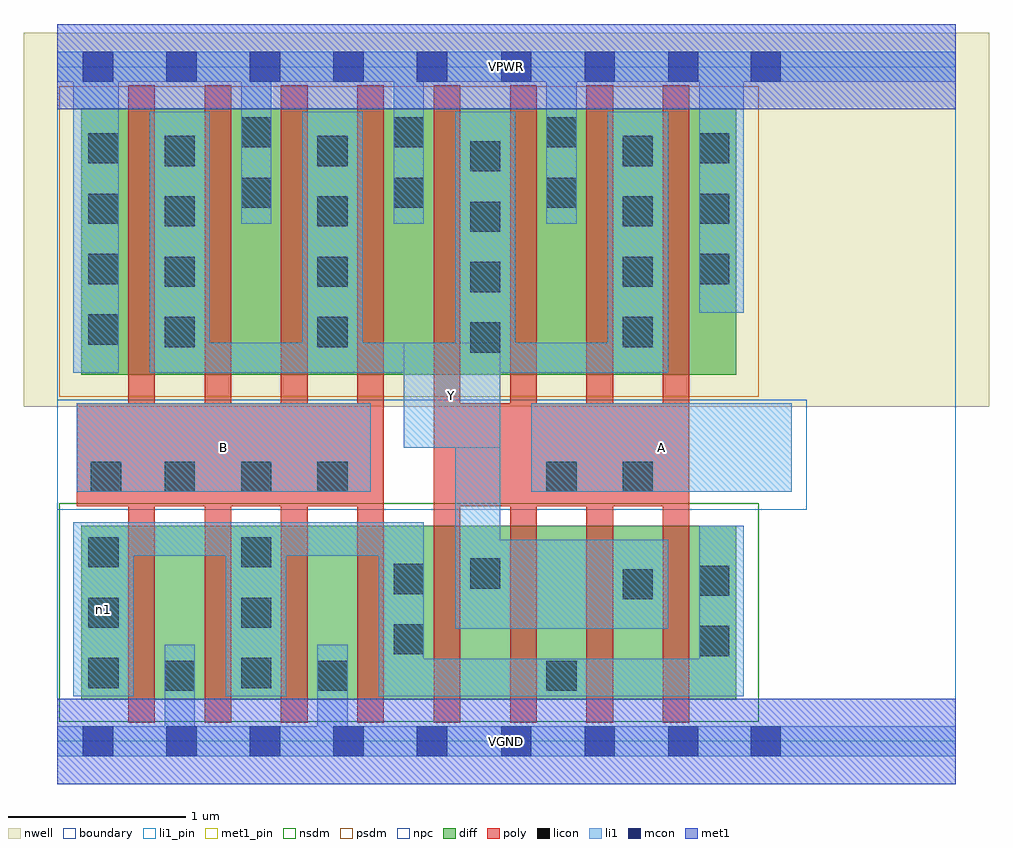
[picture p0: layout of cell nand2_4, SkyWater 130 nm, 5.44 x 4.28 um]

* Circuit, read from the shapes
.subckt nand2_4 A B VGND VPWR Y n1
XM1 VGND B n1 VSUBS sky130_fd_pr__nfet_01v8 w=0.98 l=0.15 m=4
XM2 Y A n1 VSUBS sky130_fd_pr__nfet_01v8 w=0.98 l=0.15 m=4
XM3 Y B VPWR n2 sky130_fd_pr__pfet_01v8 w=1.5 l=0.15 m=4
XM4 Y A VPWR n2 sky130_fd_pr__pfet_01v8 w=1.5 l=0.15 m=4
.ends

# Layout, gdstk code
import gdstk
lib = gdstk.Library(unit=1e-6, precision=1e-09)
def R(c, l, rs):  # rectangles x0, y0, x1, y1
    for r in rs: c.add(gdstk.rectangle(r[:2], r[2:], *l))
def A(c, l, x, y, w, h, nx, ny, dx, dy):  # array of equal rectangles
    R(c, l, [(x+i*dx, y+j*dy, x+i*dx+w, y+j*dy+h) for i in range(nx) for j in range(ny)])
nwell = (64, 20)
diff = (65, 20)
poly = (66, 20)
licon = (66, 44)
li1_pin = (67, 16)
li1 = (67, 20)
mcon = (67, 44)
met1_pin = (68, 16)
met1 = (68, 20)
nsdm = (93, 44)
psdm = (94, 20)
npc = (95, 20)
boundary = (235, 4)

nand2_4 = lib.new_cell('nand2_4')
R(nand2_4, nwell, [(-0.19,1.885,5.25,3.99), (0,1.885,5.06,3.99)])
R(nand2_4, diff, [(0.135,0.235,3.825,1.215), (0.135,2.065,3.825,3.565)])
A(nand2_4, poly, 0.4, 0.105, 0.15, 3.59, 8, 1, 0.43, 0)
R(nand2_4, poly, [(0.11,1.325,1.84,1.905), (2.12,1.325,3.56,1.905)])
A(nand2_4, licon, 0.175, 0.3, 0.17, 0.17, 1, 3, 0, 0.34)
A(nand2_4, licon, 1.035, 0.3, 0.17, 0.17, 1, 3, 0, 0.34)
A(nand2_4, licon, 0.605, 1.405, 0.17, 0.17, 3, 1, 0.43, 0)
A(nand2_4, licon, 2.325, 2.19, 0.17, 0.17, 1, 4, 0, 0.34)
A(nand2_4, licon, 0.605, 2.22, 0.17, 0.17, 1, 4, 0, 0.34)
A(nand2_4, licon, 1.465, 2.22, 0.17, 0.17, 1, 4, 0, 0.34)
A(nand2_4, licon, 3.185, 2.22, 0.17, 0.17, 1, 4, 0, 0.34)
A(nand2_4, licon, 0.175, 2.235, 0.17, 0.17, 1, 4, 0, 0.34)
A(nand2_4, licon, 3.615, 2.575, 0.17, 0.17, 1, 3, 0, 0.34)
A(nand2_4, licon, 1.035, 3.005, 0.17, 0.17, 3, 2, 0.86, 0.34)
R(nand2_4, licon, [(0.605,0.285,0.775,0.455), (1.465,0.285,1.635,0.455), (2.755,0.285,2.925,0.455), (3.615,0.48,3.785,0.65), (1.895,0.49,2.065,0.66), (3.185,0.8,3.355,0.97), (3.615,0.82,3.785,0.99), (1.895,0.83,2.065,1), (2.325,0.86,2.495,1.03), (0.19,1.405,0.36,1.575), (2.755,1.405,2.925,1.575), (3.185,1.405,3.355,1.575)])
R(nand2_4, li1_pin, [(0.11,1.405,1.765,1.905), (2.67,1.405,4.135,1.905), (1.95,1.655,2.495,2.245)])
A(nand2_4, li1, 0.52, 2.075, 0.34, 1.47, 4, 1, 0.86, 0)
A(nand2_4, li1, 1.035, 2.915, 0.17, 0.97, 3, 1, 0.86, 0)
R(nand2_4, li1, [(0,-0.085,5.06,0.085), (0.605,-0.085,0.775,0.545), (1.465,-0.085,1.635,0.545), (0.09,0.255,0.43,1.235), (0.95,0.255,1.29,1.235), (1.81,0.255,3.865,0.465), (1.81,0.255,2.065,1.235), (3.615,0.255,3.865,1.215), (2.24,0.635,2.495,3.545), (2.24,0.635,3.44,1.135), (0.09,1.045,2.065,1.235), (0.11,1.405,1.765,1.905), (2.67,1.405,4.135,1.905), (1.95,1.655,2.495,2.245), (0.09,2.075,0.345,3.885), (0.52,2.075,3.44,2.245), (3.615,2.415,3.865,3.885), (0,3.715,5.06,3.885)])
A(nand2_4, mcon, 0.145, -0.085, 0.17, 0.17, 5, 2, 0.47, 3.8)
A(nand2_4, mcon, 2.5, -0.085, 0.17, 0.17, 3, 2, 0.47, 3.8)
R(nand2_4, mcon, [(3.905,-0.085,4.075,0.085), (3.905,3.715,4.075,3.885)])
R(nand2_4, met1_pin, [(0,-0.24,5.06,0.24), (0,3.56,5.06,4.04)])
R(nand2_4, met1, [(0,-0.24,5.06,0.24), (0,3.56,5.06,4.04)])
R(nand2_4, nsdm, [(0.01,0.11,3.95,1.34)])
R(nand2_4, psdm, [(0.01,1.94,3.95,3.69)])
R(nand2_4, npc, [(0,1.305,4.22,1.925)])
R(nand2_4, boundary, [(0,0,5.06,3.8)])
nand2_4.add(gdstk.Label('A', (3.402,1.655), layer=67, texttype=5))
nand2_4.add(gdstk.Label('B', (0.937,1.655), layer=67, texttype=5))
nand2_4.add(gdstk.Label('Y', (2.222,1.95), layer=67, texttype=5))
nand2_4.add(gdstk.Label('n1', (0.26,0.745), layer=67, texttype=5))
nand2_4.add(gdstk.Label('VPWR', (2.53,3.8), layer=68, texttype=5))
nand2_4.add(gdstk.Label('VGND', (2.53,0), layer=68, texttype=5))
nand2_4.add(gdstk.Label('A', (3.402,1.655), layer=67, texttype=16))
nand2_4.add(gdstk.Label('B', (0.937,1.655), layer=67, texttype=16))
nand2_4.add(gdstk.Label('Y', (2.222,1.95), layer=67, texttype=16))
nand2_4.add(gdstk.Label('VPWR', (2.53,3.8), layer=68, texttype=16))
nand2_4.add(gdstk.Label('VGND', (2.53,0), layer=68, texttype=16))

lib.write_gds('nand2_4.gds')
